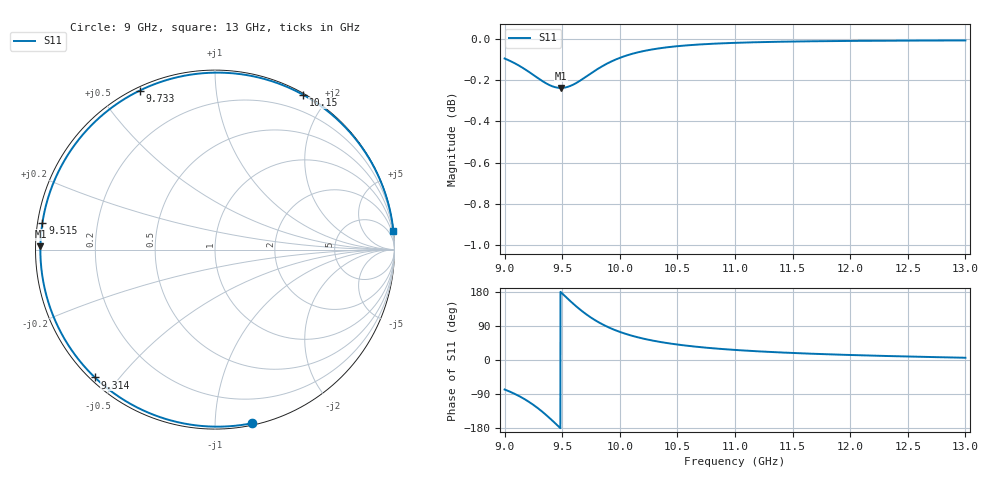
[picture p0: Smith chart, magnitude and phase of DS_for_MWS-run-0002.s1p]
! TOUCHSTONE file generated by CST DESIGN STUDIO
! Date and time: Tue Feb  4 14:14:29 2025
! Project name: C:\Work\MatlabApps\UnitCellOptimizationMatlab\CST\unitcell.cst
! Tree item: Tasks\Sweep1\SPara1\S-Parameters
! Header version: 2024
! Port assignment regex: !\s*Touchstone port\s*([0-9]+)\s*=\s*(CST MWS port|CST DES external port|CST DES block port)\s*(.+)\s* \(\"(.*)\"\)(\s*mode\s*([0-9]+))?.*
! Touchstone port assignment:
! Touchstone port 1 = CST DES external port 1 ("")
# GHz S MA R 50
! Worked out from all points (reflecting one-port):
!   4001 points, 9 GHz to 13 GHz, reference 50 ohm
!   lowest |S11| = -0.2 dB at 9.488 GHz (marker M1), VSWR 73.25, Z = 0.683 + j0.455 ohm
!   phase of S11 starts at -78 deg and turns -276 deg over the sweep
!   S11 on the Smith chart (normalised r, x): 9 GHz: 0.01, -1.24; 9.314 GHz: 0.01, -0.43; 9.515 GHz: 0.01, +0.08; 9.733 GHz: 0.01, +0.63; 10.15 GHz: 0.01, +1.72; 13 GHz: 0, +19
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9  0.9892 -77.9
9.08  0.9869 -88.3
9.179  0.9832 -104.3
9.249  0.9802 -118.3
9.314  0.9774 -133.2
9.36  0.9756 -145.0
9.409  0.9741 -158.3
9.449  0.9733 -169.7
9.488  0.9731 179.0
9.5  0.9731 175.5
9.515  0.9732 171.1
9.568  0.9741 156.1
9.628  0.976 139.9
9.68  0.9781 127.2
9.733  0.9803 115.4
9.787  0.9826 104.8
9.847  0.9849 94.5
9.923  0.9875 83.4
10  0.9896 74.2
10.15  0.9925 60.4
10.309  0.9946 49.9
10.5  0.9961 40.8
10.722  0.9971 33.3
11  0.9979 26.6
11.5  0.9987 18.5
12  0.999 13.2
12.5  0.9992 9.2
13  0.9993 5.9
